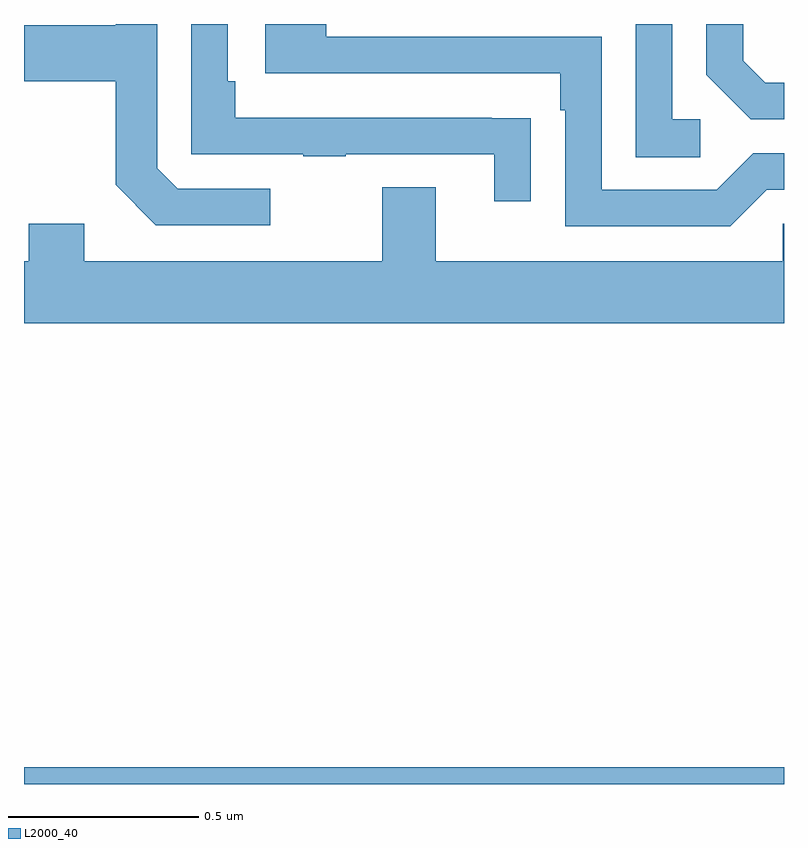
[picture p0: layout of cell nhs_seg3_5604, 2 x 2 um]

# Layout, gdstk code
import gdstk
lib = gdstk.Library(unit=1e-6, precision=1e-09)
def R(c, l, rs):  # rectangles x0, y0, x1, y1
    for r in rs: c.add(gdstk.rectangle(r[:2], r[2:], *l))
def P(c, l, *ps):  # polygons
    for p in ps: c.add(gdstk.Polygon(p, *l))
L2000_40 = (2000, 40)

nhs_seg3_5604 = lib.new_cell('nhs_seg3_5604')
R(nhs_seg3_5604, L2000_40, [(181,670.4,183,670.444)])
P(nhs_seg3_5604, L2000_40, [(182.333,672.152),(182.231,672.152),(182.231,672.153),(181.556,672.153),(181.556,672.25),(181.536,672.25),(181.536,672.4),(181.44,672.4),(181.44,672.057),(181.735,672.057),(181.735,672.052),(181.847,672.052),(181.847,672.057),(182.237,672.057),(182.237,671.934),(182.333,671.934)],
  [(183,672.246),(182.95,672.246),(182.893,672.303),(182.893,672.4),(182.796,672.4),(182.796,672.266),(182.912,672.15),(183,672.15)],
  [(181.648,671.967),(181.404,671.967),(181.35,672.021),(181.35,672.4),(181.242,672.4),(181.242,672.397),(181,672.397),(181,672.25),(181.242,672.25),(181.242,671.977),(181.347,671.871),(181.648,671.871)],
  [(182.955,671.964),(183,671.964),(183,672.06),(182.919,672.06),(182.823,671.964),(182.52,671.964),(182.52,672.366),(181.796,672.366),(181.796,672.4),(181.635,672.4),(181.635,672.27),(182.411,672.27),(182.411,672.173),(182.424,672.173),(182.424,671.868),(182.859,671.868)],
  [(182.779,672.15),(182.706,672.15),(182.706,672.4),(182.61,672.4),(182.61,672.049),(182.779,672.049)],
  [(183,671.874),(182.997,671.874),(182.997,671.776),(182.083,671.776),(182.083,671.971),(181.943,671.971),(181.943,671.776),(181.159,671.776),(181.159,671.875),(181.012,671.875),(181.012,671.776),(181,671.776),(181,671.612),(183,671.612)])

lib.write_gds('nhs_seg3_5604.gds')
